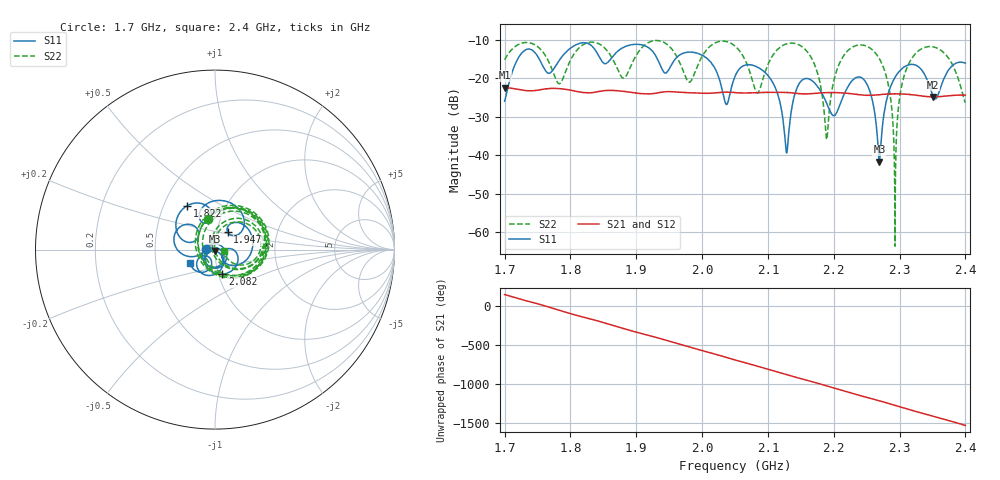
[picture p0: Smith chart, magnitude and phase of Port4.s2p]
# Hz S RI R 50
! CMT, CMT808U, 21440046, 21.4.3/4
! Date: 9/9/2026 12:50:08 AM
! Data: Format (Calibration Info)
! Freq	S11:Re/Im(F2)	S41:Re/Im(F2)	S14:Re/Im(F2)	S44:Re/Im(F2)
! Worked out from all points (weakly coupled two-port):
!   3001 points, 1.7 GHz to 2.4 GHz, reference 50 ohm
!   highest |S21| = -22.39 dB at 1.701 GHz (marker M1); lowest = -24.8 dB at 2.351 GHz (marker M2)
!   lowest |S11| = -41.7 dB at 2.269 GHz (marker M3), VSWR 1.02, Z = 49.9 - j0.812 ohm
!   |S11| at or under -10 dB: start of sweep to end of sweep
!   |S22| runs from -63.6 to -10.2 dB; largest |S21 - S12| = 0.0011
!   S11 on the Smith chart (normalised r, x): 1.7 GHz: 0.90, +0.01; 1.822 GHz: 0.66, +0.35; 1.947 GHz: 1.13, +0.22; 2.082 GHz: 1.04, -0.29; 2.4 GHz: 0.75, -0.11
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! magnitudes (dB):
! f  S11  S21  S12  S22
! 1.7 GHz  -25.9  -22.4  -22.4  -15.2
! 1.701 GHz  -25.4  -22.4  -22.4  -14.9
! 1.783 GHz  -15.3  -22.7  -22.7  -21.4
! 1.817 GHz  -10.8  -23.6  -23.6  -11.6
! 1.822 GHz  -10.8  -23.7  -23.7  -11.1
! 1.881 GHz  -12.0  -23.4  -23.4  -20.0
! 1.934 GHz  -15.5  -23.8  -23.7  -10.2
! 1.947 GHz  -18.4  -23.5  -23.5  -11.2
! 1.98 GHz  -13.2  -23.7  -23.7  -21.0
! 2.05 GHz  -19.5  -23.7  -23.7  -11.6
! 2.082 GHz  -16.9  -23.7  -23.7  -23.4
! 2.128 GHz  -39.4  -23.7  -23.7  -11.0
! 2.167 GHz  -20.6  -24.0  -24.0  -14.9
! 2.189 GHz  -26.5  -23.7  -23.7  -35.9
! 2.208 GHz  -27.3  -23.8  -23.7  -16.2
! 2.244 GHz  -20.1  -24.3  -24.3  -11.4
! 2.269 GHz  -41.7  -24.3  -24.2  -14.9
! 2.284 GHz  -23.6  -24.1  -24.1  -22.2
! 2.293 GHz  -19.7  -24.0  -24.0  -52.9
! 2.31 GHz  -16.8  -24.1  -24.1  -17.9
! 2.351 GHz  -24.5  -24.8  -24.8  -11.8
! 2.4 GHz  -16.1  -24.4  -24.4  -26.3
